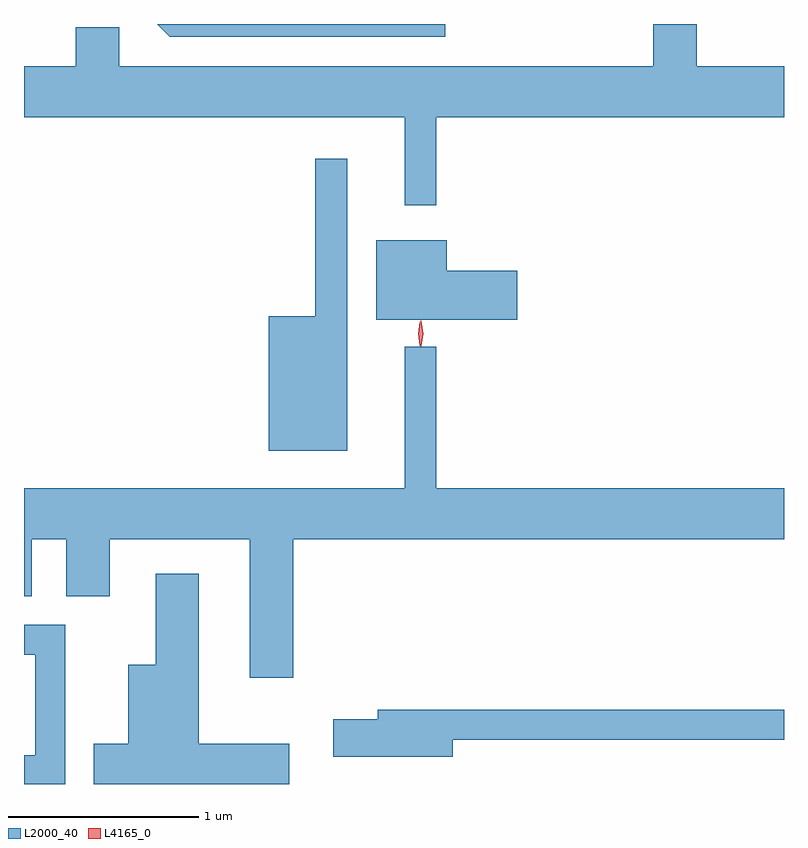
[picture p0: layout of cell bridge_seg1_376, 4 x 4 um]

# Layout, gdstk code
import gdstk
lib = gdstk.Library(unit=1e-6, precision=1e-09)
def P(c, l, *ps):  # polygons
    for p in ps: c.add(gdstk.Polygon(p, *l))
L2000_40 = (2000, 40)
L4165_0 = (4165, 0)

bridge_seg1_376 = lib.new_cell('bridge_seg1_376')
P(bridge_seg1_376, L2000_40, [(558.059,943.976),(559.888,943.976),(559.888,944.244),(559.429,944.244),(559.429,944.467),(559.201,944.467),(559.201,944.244),(556.389,944.244),(556.389,944.449),(556.161,944.449),(556.161,944.244),(555.888,944.244),(555.888,943.976),(557.891,943.976),(557.891,943.513),(558.059,943.513)],
  [(558.104,944.467),(556.588,944.467),(556.654,944.401),(558.104,944.401)],
  [(557.589,943.758),(557.421,943.758),(557.421,942.929),(557.176,942.929),(557.176,942.221),(557.589,942.221)],
  [(558.484,943.169),(558.114,943.169),(558.114,943.329),(557.741,943.329),(557.741,942.911),(558.484,942.911)],
  [(557.304,941.756),(559.888,941.756),(559.888,942.024),(558.059,942.024),(558.059,942.768),(557.891,942.768),(557.891,942.024),(555.888,942.024),(555.888,941.456),(555.929,941.456),(555.929,941.756),(556.111,941.756),(556.111,941.456),(556.339,941.456),(556.339,941.756),(557.076,941.756),(557.076,941.026),(557.304,941.026)],
  [(557.284,940.679),(556.809,940.679),(556.809,941.574),(556.581,941.574),(556.581,941.094),(556.436,941.094),(556.436,940.679),(556.256,940.679),(556.256,940.467),(557.284,940.467)],
  [(556.104,941.304),(555.888,941.304),(555.888,941.146),(555.946,941.146),(555.946,940.619),(555.888,940.619),(555.888,940.467),(556.104,940.467)],
  [(558.144,940.701),(559.888,940.701),(559.888,940.859),(557.751,940.859),(557.751,940.809),(557.516,940.809),(557.516,940.611),(558.144,940.611)])
P(bridge_seg1_376, L4165_0, [(557.977,942.77),(557.977,942.77),(557.967,942.838),(557.977,942.906),(557.977,942.906),(557.978,942.906),(557.988,942.838),(557.978,942.77)],
  [(557.972,942.773),(557.972,942.773),(557.962,942.836),(557.971,942.899),(557.972,942.9),(557.972,942.899),(557.982,942.836),(557.973,942.773)])

lib.write_gds('bridge_seg1_376.gds')
